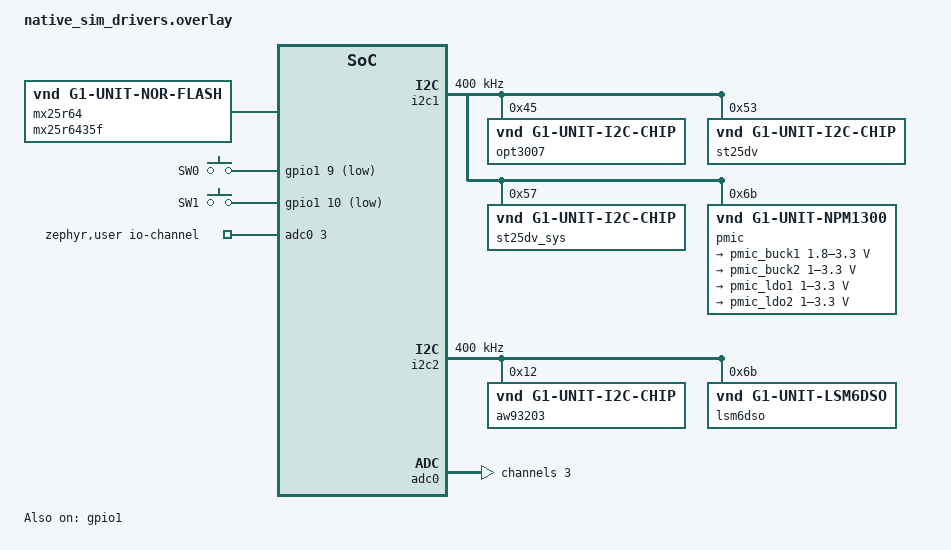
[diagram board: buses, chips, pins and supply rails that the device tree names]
/*
 * Driver suites (G1_UNIT_DRIVERS): the firmware's devicetree labels on emulated hardware. A chip
 * whose emulator the suite does not pick (g1_unit_emul) NAKs every transfer, a valid "chip missing"
 * setup. A fake sensor driver's node needs its device in every driver suite (i2c_emul links every
 * child), so emul.cmake always compiles it. Not provided yet: uart0, pdm0, ipc0.
 */

#include <zephyr/dt-bindings/adc/adc.h>
#include <zephyr/dt-bindings/gpio/gpio.h>
#include <zephyr/dt-bindings/i2c/i2c.h>

/* the label moves to the emulated NOR flash below */
/delete-node/ &mx25r64;

/ {
	/* 32 MiB, as the lens' MX25U256 */
	mx25r64: mx25r6435f {
		compatible = "vnd,g1-unit-nor-flash";
		size = <0x2000000>;
	};

	gpio1: gpio@900 {
		status = "okay";
		compatible = "zephyr,gpio-emul";
		reg = <0x900 0x4>;
		rising-edge;
		falling-edge;
		high-level;
		low-level;
		gpio-controller;
		#gpio-cells = <2>;
		ngpios = <16>;
	};

	gpio_keys {
		compatible = "gpio-keys";
		sw0: sw0 {
			gpios = <&gpio1 9 (GPIO_ACTIVE_LOW | GPIO_PULL_UP)>;
			label = "SW0";
		};
		sw1: sw1 {
			gpios = <&gpio1 10 (GPIO_ACTIVE_LOW | GPIO_PULL_UP)>;
			label = "SW1";
		};
	};

	/* TWIM1 on the lens */
	i2c1: i2c@1100 {
		status = "okay";
		compatible = "zephyr,i2c-emul-controller";
		clock-frequency = <I2C_BITRATE_FAST>;
		#address-cells = <1>;
		#size-cells = <0>;
		reg = <0x1100 4>;

		opt3007: opt3001@45 {
			compatible = "vnd,g1-unit-i2c-chip";
			reg = <0x45>;
		};

		/* ST25DV04KC: 0x53 user / dynamic / mailbox, 0x57 system area */
		st25dv: st25dv@53 {
			compatible = "vnd,g1-unit-i2c-chip";
			reg = <0x53>;
		};
		st25dv_sys: st25dv@57 {
			compatible = "vnd,g1-unit-i2c-chip";
			reg = <0x57>;
		};

		pmic: pmic@6b {
			compatible = "vnd,g1-unit-npm1300";
			reg = <0x6b>;

			pmic_regulators: regulators {
				compatible = "vnd,g1-unit-npm1300-regulator";

				pmic_buck1: BUCK1 {
					regulator-min-microvolt = <1800000>;
					regulator-max-microvolt = <3300000>;
				};
				pmic_buck2: BUCK2 {
					regulator-min-microvolt = <1000000>;
					regulator-max-microvolt = <3300000>;
					regulator-init-microvolt = <1200000>;
				};
				pmic_ldo1: LDO1 {
					regulator-min-microvolt = <1000000>;
					regulator-max-microvolt = <3300000>;
				};
				pmic_ldo2: LDO2 {
					regulator-min-microvolt = <1000000>;
					regulator-max-microvolt = <3300000>;
				};
			};

			/* reset-gpios omitted: no nPM1300 GPIO controller here */
			pmic_wdt: watchdog {
				compatible = "nordic,npm1300-wdt";
			};

			pmic_charger: charger {
				compatible = "vnd,g1-unit-charger";
				current-microamp = <40000>;
			};
		};
	};

	/* TWIM2 on the lens */
	i2c2: i2c@1200 {
		status = "okay";
		compatible = "zephyr,i2c-emul-controller";
		clock-frequency = <I2C_BITRATE_FAST>;
		#address-cells = <1>;
		#size-cells = <0>;
		reg = <0x1200 4>;

		/* INT drives sw0 */
		aw93203: aw93203@12 {
			compatible = "vnd,g1-unit-i2c-chip";
			reg = <0x12>;
		};

		lsm6dso: lsm6dso@6b {
			compatible = "vnd,g1-unit-lsm6dso";
			reg = <0x6b>;
		};
	};
};

/*
 * NFC field voltage. 0.6 V reference and gain 1/6 give 3.6 V full scale, as on the lens.
 * adc_emul_const_value_set(adc0, 3, mV) sets the pin.
 */
&adc0 {
	#address-cells = <1>;
	#size-cells = <0>;
	nchannels = <8>;
	ref-internal-mv = <600>;

	channel@3 {
		reg = <3>;
		zephyr,gain = "ADC_GAIN_1_6";
		zephyr,reference = "ADC_REF_INTERNAL";
		zephyr,acquisition-time = <ADC_ACQ_TIME_DEFAULT>;
		zephyr,resolution = <12>;
	};
};

/ {
	zephyr,user {
		io-channels = <&adc0 3>;
	};
};
